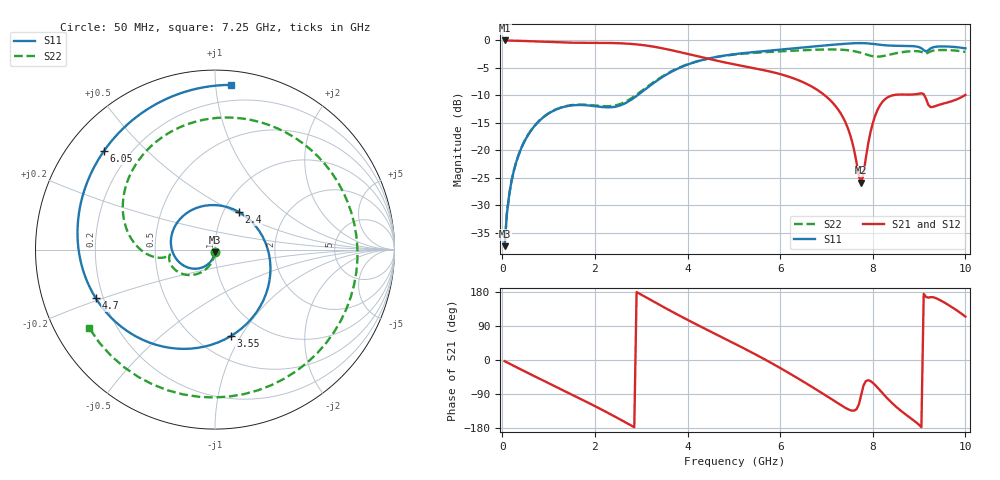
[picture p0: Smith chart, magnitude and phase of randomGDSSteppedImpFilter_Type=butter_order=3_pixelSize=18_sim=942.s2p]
! freq	dB(S11)	phase(S11)	dB(S12)	phase(S12)
!  dB(S21)	phase(S21)	dB(S22)	phase(S22)
!S-par simulation data
#  GHz  S  DB  R 50
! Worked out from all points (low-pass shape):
!   200 points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, 50 MHz to 10 GHz, reference 50 ohm
!   highest |S21| = -0.01 dB at 50 MHz (marker M1); lowest = -25.9 dB at 7.75 GHz (marker M2)
!   |S21| within 3 dB of the highest: start of sweep to 4.273 GHz
!   lowest |S11| = -37.4 dB at 50 MHz (marker M3), VSWR 1.03, Z = 49.9 - j1.34 ohm
!   |S11| at or under -10 dB: start of sweep to 2.915 GHz
!   |S22| runs from -37.3 to -1.6 dB; largest |S21 - S12| = 0
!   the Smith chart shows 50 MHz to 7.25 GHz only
!   S11 on the Smith chart (normalised r, x): 50 MHz: 1.00, -0.03; 2.4 GHz: 1.18, +0.53; 3.55 GHz: 0.71, -0.90; 4.7 GHz: 0.17, -0.19; 6.05 GHz: 0.11, +0.38; 7.25 GHz: 0.09, +1.09
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0.05  -37.41 -93.4  -0.01 -3.2  -0.01 -3.2  -37.32 -91.7
0.2  -25.55 -104.5  -0.03 -12.5  -0.03 -12.5  -25.53 -100.5
0.5  -18.02 -126.6  -0.11 -31.0  -0.11 -31.0  -17.99 -116.2
1.15  -12.61 -174.8  -0.34 -70.2  -0.34 -70.2  -12.57 -146.7
1.75  -11.76 134.2  -0.44 -106.3  -0.44 -106.3  -11.67 -167.6
2.4  -12.10 57.6  -0.48 -147.3  -0.48 -147.3  -11.87 -173.2
3.4  -6.97 -66.3  -1.34 145.2  -1.34 145.2  -6.84 174.8
3.55  -6.18 -79.9  -1.59 135.2  -1.59 135.2  -6.07 168.4
4.7  -2.89 -157.8  -3.81 62.6  -3.81 62.6  -2.91 102.4
5.05  -2.46 -176.0  -4.41 41.1  -4.41 41.1  -2.54 77.8
6.05  -1.64 138.3  -6.24 -24.5  -6.24 -24.5  -1.97 -9.0
6.7  -1.12 109.7  -8.47 -71.9  -8.47 -71.9  -1.71 -78.8
7.25  -0.71 84.6  -12.54 -114.4  -12.54 -114.4  -1.66 -148.3
7.5  -0.56 72.6  -16.86 -131.8  -16.86 -131.8  -1.82 171.5
7.75  -0.49 60.1  -25.87 -92.1  -25.87 -92.1  -2.27 117.8
7.9  -0.54 52.5  -18.81 -53.3  -18.81 -53.3  -2.66 75.8
8.1  -0.74 43.0  -12.68 -72.4  -12.68 -72.4  -2.95 11.7
8.35  -0.93 32.6  -10.22 -105.7  -10.22 -105.7  -2.61 -58.9
8.6  -0.98 22.2  -9.83 -133.2  -9.83 -133.2  -2.18 -108.4
9  -1.23 3.5  -9.68 -171.1  -9.68 -171.1  -1.99 -162.8
9.45  -1.09 -11.1  -11.67 158.2  -11.67 158.2  -1.75 154.0
10  -1.45 -39.2  -9.90 114.3  -9.90 114.3  -2.09 95.9
